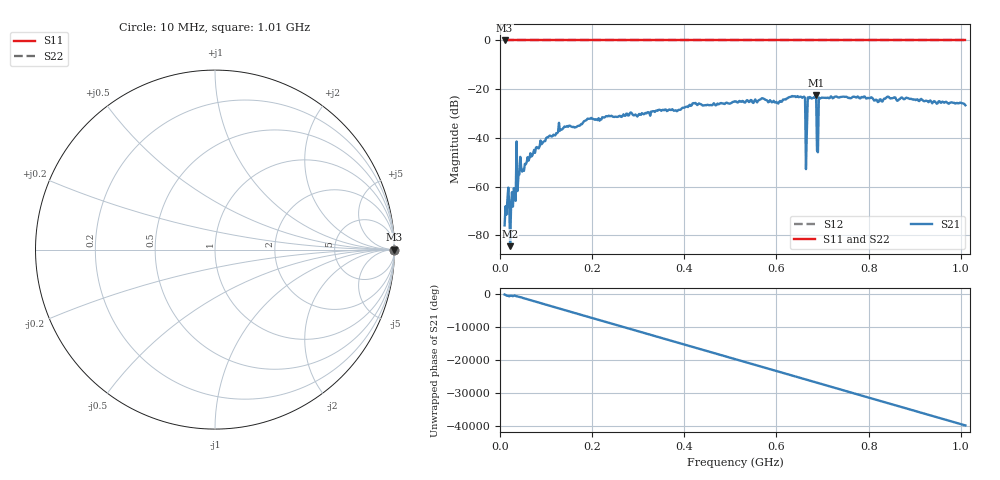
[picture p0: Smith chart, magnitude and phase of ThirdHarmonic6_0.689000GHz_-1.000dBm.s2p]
! 8/15/2025 11:00:56 PM
! C:\ANRITSUVNA\TEMP\TEMP.S2P
! CHANNEL.1
! TR.MEASUREMENT
! RAW.DATA
! RF.CORRECTION.OFF
! AVERAGING.OFF
! IF.BANDWIDTH: 5KHZ
! SWEEPTYPE:  FREQ.SWEEP(Linear)
! Reference Plane Port Info
! PORT:  PORT1  PORT2
! DISTANCE:  0  m  0  m
! TIME:  0  s  0  s
! PHASE.OFFSET:  0  deg.  0  deg.
! LOSS:  0  dB  0  dB
! REF.LOSS:  0  dB  0  dB
! REF.FREQ:  0  Hz  0  Hz
! Power Info
! POWER:  -20  dBm  -20  dBm
! EFF.POWER:  -20  dBm  -20  dBm
! SOURCE.ATTEN:  0  dB  0  dB
! TEST.ATTEN:  0  dB  0  dB
# GHZ S RI R 50.0
! FREQ.GHZ  S11RE  S11IM  S21RE  S21IM  S12RE  S12IM  S22RE  S22IM
!; PortSelection: Port_12
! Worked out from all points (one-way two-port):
!   501 points, 10 MHz to 1.01 GHz, reference 50 ohm
!   highest |S21| = -22.34 dB at 686 MHz (marker M1); lowest = -84.5 dB at 22 MHz (marker M2)
!   lowest |S11| = 0.0 dB at 10 MHz (marker M3)
!   |S11| at or under -10 dB: nowhere
!   |S22| runs from 0.0 to 0.0 dB; largest |S21 - S12| = 1.1
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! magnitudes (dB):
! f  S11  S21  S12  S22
! 10 MHz  0.0  -76.0  0.0  0.0
! 16 MHz  0.0  -65.5  0.0  0.0
! 22 MHz  0.0  -84.5  0.0  0.0
! 26 MHz  0.0  -62.3  0.0  0.0
! 40 MHz  0.0  -55.5  0.0  0.0
! 104 MHz  0.0  -39.8  0.0  0.0
! 178 MHz  0.0  -34.4  0.0  0.0
! 344 MHz  0.0  -28.5  0.0  0.0
! 510 MHz  0.0  -25.0  0.0  0.0
! 656 MHz  0.0  -23.6  0.0  0.0
! 658 MHz  0.0  -23.2  0.0  0.0
! 662 MHz  0.0  -23.6  0.0  0.0
! 666 MHz  0.0  -36.9  0.0  0.0
! 668 MHz  0.0  -23.4  0.0  0.0
! 672 MHz  0.0  -23.2  0.0  0.0
! 678 MHz  0.0  -23.7  0.0  0.0
! 682 MHz  0.0  -23.6  0.0  0.0
! 686 MHz  0.0  -22.3  0.0  0.0
! 692 MHz  0.0  -23.4  0.0  0.0
! 696 MHz  0.0  -23.7  0.0  0.0
! 844 MHz  0.0  -23.2  0.0  0.0
! 1.01 GHz  0.0  -26.6  0.0  0.0
